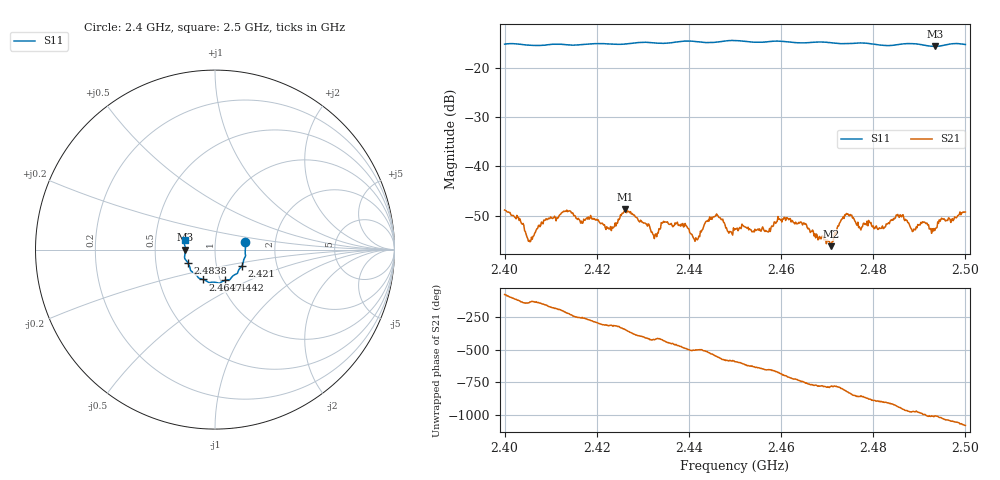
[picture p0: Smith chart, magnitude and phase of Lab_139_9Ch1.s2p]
# Hz S RI R 50
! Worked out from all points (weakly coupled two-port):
!   601 points, 2.4 GHz to 2.5 GHz, reference 50 ohm
!   highest |S21| = -48.69 dB at 2.4262 GHz (marker M1); lowest = -56.2 dB at 2.4708 GHz (marker M2)
!   lowest |S11| = -15.7 dB at 2.4933 GHz (marker M3), VSWR 1.40, Z = 35.8 + j0.0147 ohm
!   |S11| at or under -10 dB: start of sweep to end of sweep
!   S12 and S22 are empty: the file has one direction only
!   S11 on the Smith chart (normalised r, x): 2.4 GHz: 1.40, +0.12; 2.421 GHz: 1.33, -0.24; 2.4442 GHz: 1.05, -0.37; 2.4647 GHz: 0.83, -0.29; 2.4838 GHz: 0.73, -0.11; 2.5 GHz: 0.71, +0.08
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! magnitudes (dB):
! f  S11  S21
! 2.4 GHz  -15.2  -48.9
! 2.4055 GHz  -15.4  -55.3
! 2.413 GHz  -15.3  -49.2
! 2.4167 GHz  -15.3  -51.1
! 2.421 GHz  -15.1  -51.6
! 2.4233 GHz  -15.2  -52.3
! 2.4262 GHz  -15.2  -48.7
! 2.4333 GHz  -15.0  -53.5
! 2.4345 GHz  -15.0  -51.1
! 2.4388 GHz  -14.6  -52.3
! 2.4415 GHz  -14.7  -54.5
! 2.4442 GHz  -14.9  -50.9
! 2.45 GHz  -14.5  -52.7
! 2.4647 GHz  -14.9  -51.9
! 2.4667 GHz  -14.8  -53.1
! 2.4708 GHz  -14.9  -56.2
! 2.4743 GHz  -15.1  -49.7
! 2.4773 GHz  -15.0  -52.9
! 2.4833 GHz  -15.5  -51.5
! 2.4838 GHz  -15.5  -50.9
! 2.4933 GHz  -15.7  -53.0
! 2.5 GHz  -15.3  -49.3
